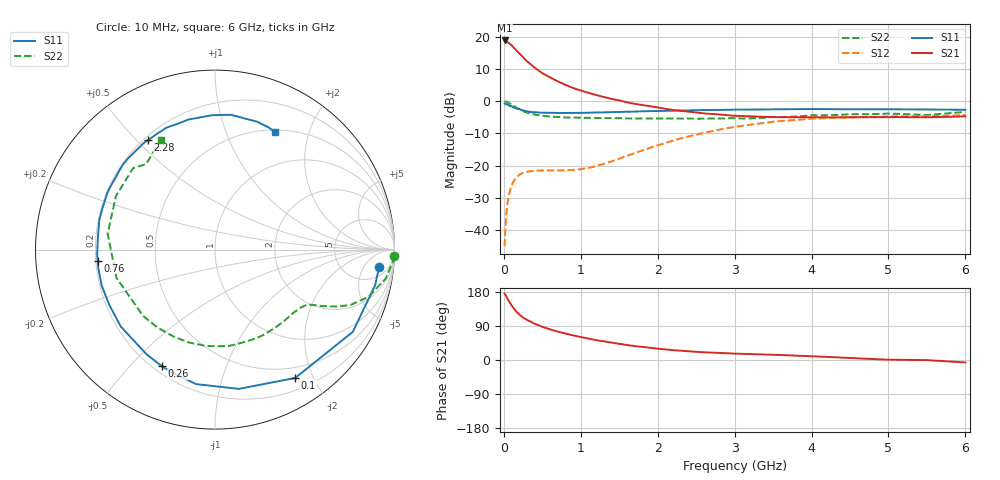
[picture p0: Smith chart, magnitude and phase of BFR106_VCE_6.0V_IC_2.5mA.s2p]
! Infineon Technologies  Discrete & RF Semiconductors
! BFR106
! VCE =  6.0 V,  IC =  2.5 mA
! Common Emitter S-Parameters:  Nov 2015
# GHz  S  MA  R  50
!  f  S11  S21  S12  S22
! GHz  MAG  ANG  MAG  ANG  MAG  ANG  MAG  ANG
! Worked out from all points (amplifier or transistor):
!   210 points, 10 MHz to 6 GHz, reference 50 ohm
!   highest |S21| = 18.8 dB at 10 MHz (marker M1)
!   |S21| within 3 dB of that: start of sweep to 160.5 MHz
!   unconditionally stable (mu >= 1): 749.4 MHz to 1.826 GHz; 4.241 GHz to end of sweep
!   at 185 MHz: K = 0.26, MSG = 19.1 dB, |S12| = -23.1 dB
!   at 1.52 GHz: K = 1.15, MAG = 6.5 dB, |S12| = -17.6 dB
!   at 6 GHz: K = 1.02, MAG = -1.1 dB, |S12| = -4.3 dB
!   S11 on the Smith chart (normalised r, x): 10 MHz: 9, -11; 100 MHz: 0.35, -1.75; 260 MHz: 0.23, -0.62; 760 MHz: 0.21, -0.05; 2.28 GHz: 0.22, +0.54; 6 GHz: 0.52, +1.50
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0.01  0.919 -6.2  8.701 175.3  0.0057 87.4  0.9989 -2.1
0.025  0.9045 -15.5  8.519 170.2  0.0142 80.6  0.9869 -5.0
0.05  0.8943 -30.8  8.197 160.1  0.0278 73.5  0.9637 -9.7
0.1  0.8433 -58.0  7.378 144.3  0.0498 60.5  0.8945 -17.2
0.15  0.7873 -80.3  6.35 130.0  0.0638 49.6  0.8145 -22.3
0.2  0.7567 -98.0  5.508 120.3  0.0726 43.0  0.7534 -24.9
0.24  0.7247 -109.4  4.902 113.5  0.0769 38.7  0.7112 -26.4
0.26  0.7143 -114.5  4.637 110.5  0.0785 37.1  0.6938 -27.0
0.3  0.6964 -123.4  4.151 105.6  0.0807 34.7  0.6662 -28.1
0.4  0.6779 -140.7  3.3 95.6  0.0838 31.2  0.6197 -29.7
0.5  0.6648 -152.7  2.71 87.4  0.0846 30.1  0.5934 -31.5
0.6  0.6623 -162.5  2.323 80.8  0.0846 31.2  0.5785 -33.7
0.76  0.6566 -174.6  1.878 72.0  0.0848 35.6  0.5637 -38.0
1.02  0.6588 169.8  1.435 59.8  0.0894 47.0  0.5536 -46.0
1.4  0.6774 152.5  1.084 45.8  0.1168 63.5  0.5474 -59.9
2.02  0.7043 130.0  0.791 29.5  0.2111 70.0  0.539 -86.5
2.28  0.7154 121.4  0.714 24.8  0.2609 67.5  0.5365 -99.3
3.1  0.7397 99.4  0.588 16.3  0.415 51.3  0.5405 -142.7
3.5  0.749 91.1  0.566 13.9  0.4816 42.3  0.5708 -164.0
4.1  0.7543 82.1  0.56 9.2  0.54 28.3  0.6031 167.5
5.1  0.7483 70.6  0.567 0.6  0.5793 10.3  0.6366 133.9
6  0.7364 63.2  0.582 -6.5  0.6104 -1.3  0.6839 116.3
